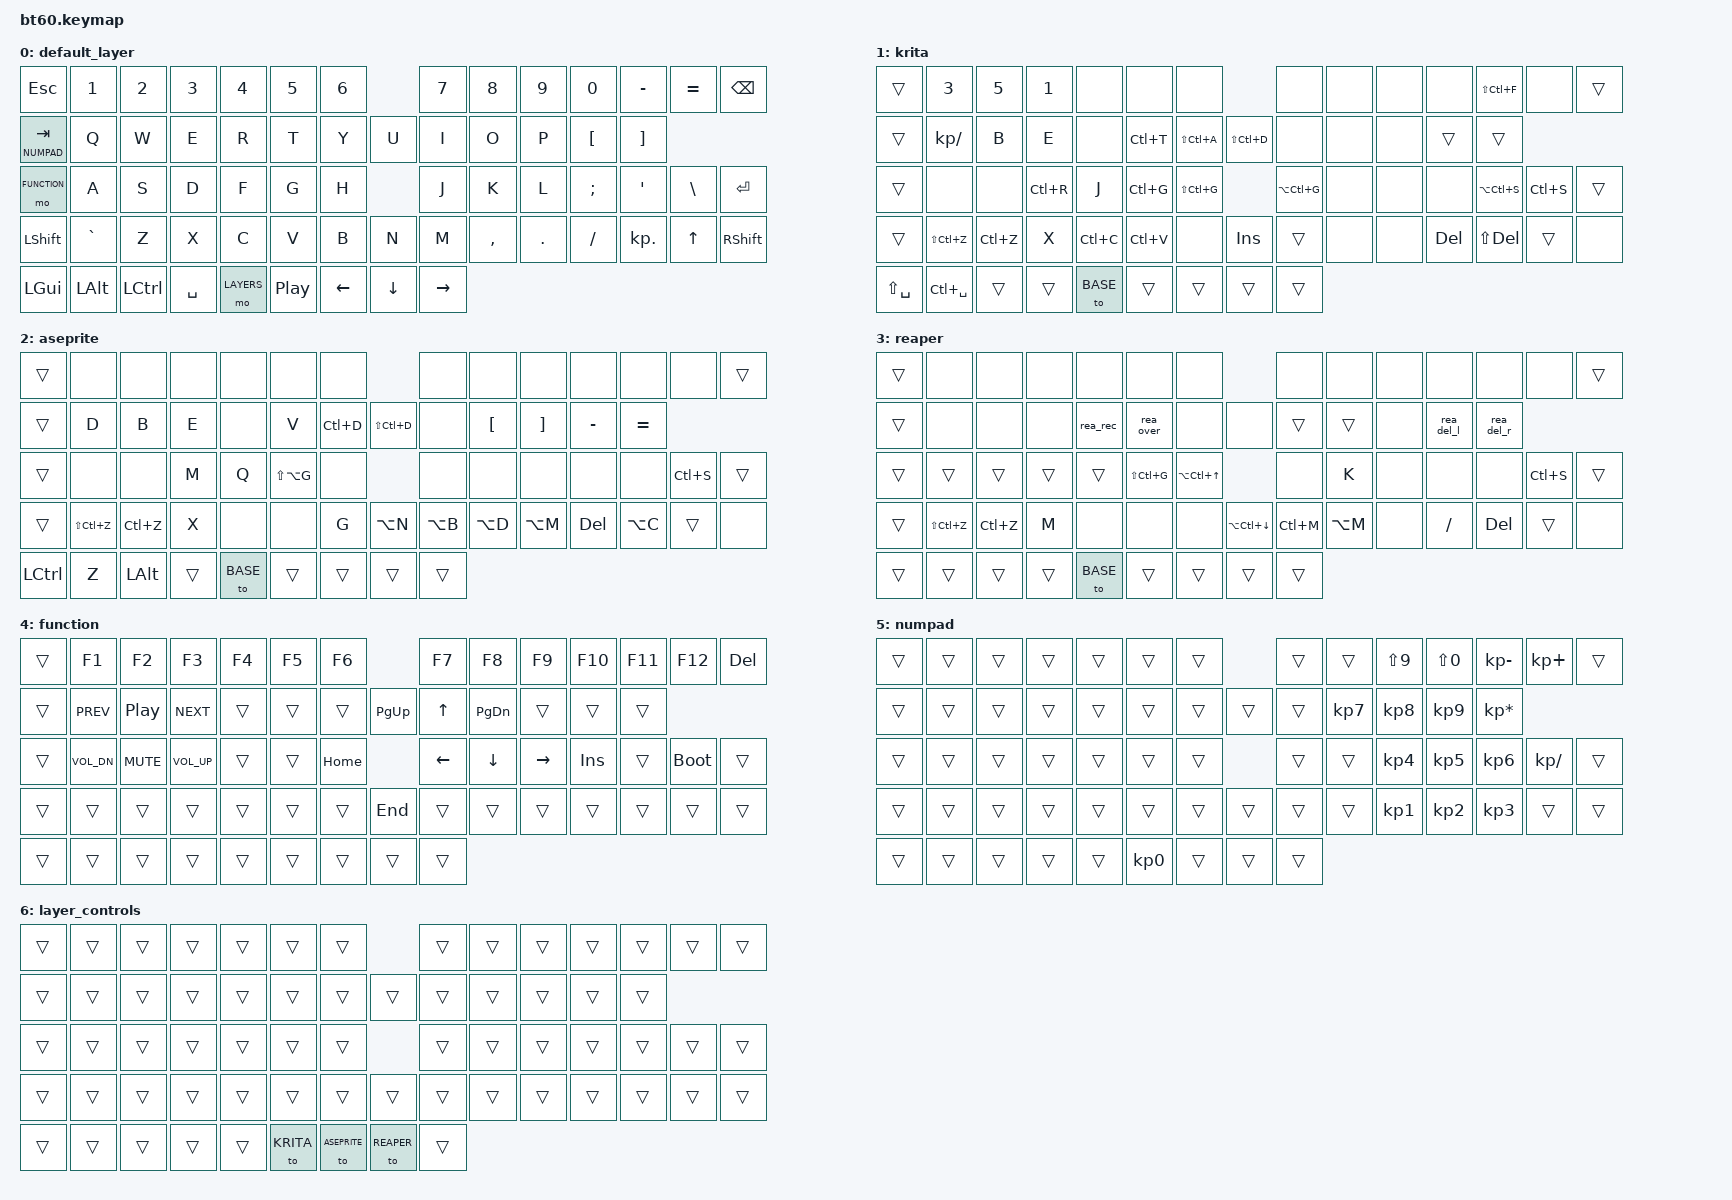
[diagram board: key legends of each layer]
#include <behaviors.dtsi>
#include <dt-bindings/zmk/keys.h>

#define BASE     0
#define KRITA    1
#define ASEPRITE 2
#define REAPER   3
#define FUNCTION 4
#define NUMPAD   5
#define LAYERS   6

/ {
    keymap {
        compatible = "zmk,keymap";
        default_layer {
            bindings = <
                &kp ESC &kp N1 &kp N2 &kp N3 &kp N4 &kp N5 &kp N6 &kp N7 &kp N8 &kp N9 &kp N0 &kp MINUS &kp EQUAL &kp BSPC
                &lt NUMPAD TAB &kp Q &kp W &kp E &kp R &kp T &kp Y &kp U &kp I &kp O &kp P &kp LBKT &kp RBKT
                &mo FUNCTION &kp A &kp S &kp D &kp F &kp G &kp H &kp J &kp K &kp L &kp SEMI &kp SQT &kp BSLH &kp RET
                &kp LSHFT &kp GRAVE &kp Z &kp X &kp C &kp V &kp B &kp N &kp M &kp COMMA &kp DOT &kp FSLH &kp KP_DOT &kp UP &kp RSHFT
                &kp LGUI &kp LALT &kp LCTRL &kp SPACE &mo LAYERS &kp C_PP &kp LEFT &kp DOWN &kp RIGHT
            >;
        };
        krita {
            bindings = <
                &trans &kp N3 &kp N5 &kp N1 &none &none &none &none &none &none &none &kp LS(LC(F)) &none &trans
                &trans &kp KP_SLASH &kp B &kp E &none &kp LC(T) &kp LS(LC(A)) &kp LS(LC(D)) &none &none &none &trans &trans
                &trans &none &none &kp LC(R) &kp J &kp LC(G) &kp LS(LC(G)) &kp LA(LC(G)) &none &none &none &kp LA(LC(S)) &kp LC(S) &trans
                &trans &kp LS(LC(Z)) &kp LC(Z) &kp X &kp LC(C) &kp LC(V) &none &kp INS &trans &none &none &kp DEL &kp LS(DEL) &trans &none
                &kp LS(SPACE) &kp LC(SPACE) &trans &trans &to BASE &trans &trans &trans &trans
            >;
        };
        aseprite {
            bindings = <
                &trans &none &none &none &none &none &none &none &none &none &none &none &none &trans
                &trans &kp D &kp B &kp E &none &kp V &kp LC(D) &kp LS(LC(D)) &none &kp LBKT &kp RBKT &kp MINUS &kp EQUAL
                &trans &none &none &kp M &kp Q &kp LS(LA(G)) &none &none &none &none &none &none &kp LC(S) &trans
                &trans &kp LS(LC(Z)) &kp LC(Z) &kp X &none &none &kp G &kp LA(N) &kp LA(B) &kp LA(D) &kp LA(M) &kp DEL &kp LA(C) &trans &none
                &kp LCTRL &kp Z &kp LALT &trans &to BASE &trans &trans &trans &trans
            >;
        };
        reaper {
            bindings = <
                &trans &none &none &none &none &none &none &none &none &none &none &none &none &trans
                &trans &none &none &none &rea_rec &rea_over &none &none &trans &trans &none &rea_del_l &rea_del_r
                &trans &trans &trans &trans &trans &kp LS(LC(G)) &kp LA(LC(UP)) &none &kp K &none &none &none &kp LC(S) &trans
                &trans &kp LS(LC(Z)) &kp LC(Z) &kp M &none &none &none &kp LA(LC(DOWN)) &kp LC(M) &kp LA(M) &none &kp FSLH &kp DEL &trans &none
                &trans &trans &trans &trans &to BASE &trans &trans &trans &trans
            >;
        };
        function {
            bindings = <
                &trans &kp F1 &kp F2 &kp F3 &kp F4 &kp F5 &kp F6 &kp F7 &kp F8 &kp F9 &kp F10 &kp F11 &kp F12 &kp DEL
                &trans &kp C_PREV &kp C_PP &kp C_NEXT &trans &trans &trans &kp PG_UP &kp UP &kp PG_DN &trans &trans &trans
                &trans &kp C_VOL_DN &kp C_MUTE &kp C_VOL_UP &trans &trans &kp HOME &kp LEFT &kp DOWN &kp RIGHT &kp INS &trans &bootloader &trans
                &trans &trans &trans &trans &trans &trans &trans &kp END &trans &trans &trans &trans &trans &trans &trans
                &trans &trans &trans &trans &trans &trans &trans &trans &trans
            >;
        };
        numpad {
            bindings = <
                &trans &trans &trans &trans &trans &trans &trans &trans &trans &kp LS(N9) &kp LS(N0) &kp KP_MINUS &kp KP_PLUS &trans
                &trans &trans &trans &trans &trans &trans &trans &trans &trans &kp KP_N7 &kp KP_N8 &kp KP_N9 &kp KP_MULTIPLY
                &trans &trans &trans &trans &trans &trans &trans &trans &trans &kp KP_N4 &kp KP_N5 &kp KP_N6 &kp KP_DIVIDE &trans
                &trans &trans &trans &trans &trans &trans &trans &trans &trans &trans &kp KP_N1 &kp KP_N2 &kp KP_N3 &trans &trans
                &trans &trans &trans &trans &trans &kp KP_N0 &trans &trans &trans
            >;
        };
        layer_controls {
            bindings = <
                &trans &trans &trans &trans &trans &trans &trans &trans &trans &trans &trans &trans &trans &trans
                &trans &trans &trans &trans &trans &trans &trans &trans &trans &trans &trans &trans &trans
                &trans &trans &trans &trans &trans &trans &trans &trans &trans &trans &trans &trans &trans &trans
                &trans &trans &trans &trans &trans &trans &trans &trans &trans &trans &trans &trans &trans &trans &trans
                &trans &trans &trans &trans &trans &to KRITA &to ASEPRITE &to REAPER &trans
            >;
        };
    };

    macros {
        // cut region, select left and delete
        rea_del_l: rea_del_l {
            label = "ZM_rea_del_l";
            compatible = "zmk,behavior-macro";
            #binding-cells = <0>;
            wait-ms = <30>;
            bindings = <&kp K>, <&kp BSPC>;
        };
        // cut region, select right and delete
        rea_del_r: rea_del_r {
            label = "ZM_rea_del_r";
            compatible = "zmk,behavior-macro";
            #binding-cells = <0>;
            wait-ms = <30>;
            bindings = <&kp LS(K)>, <&kp BSPC>;
        };
        // reaper: set overdub record mode + start recording
        rea_over: rea_over {
            label = "ZM_rea_over";
            compatible = "zmk,behavior-macro";
            #binding-cells = <0>;
            wait-ms = <30>;
            bindings = <&kp F21>, <&kp LC(R)>;
        };
        // reaper: set regular record mode + start recording
        rea_rec: rea_rec {
            label = "ZM_rea_rec";
            compatible = "zmk,behavior-macro";
            #binding-cells = <0>;
            wait-ms = <30>;
            bindings = <&kp F20>, <&kp LC(R)>;
        };
    };
};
